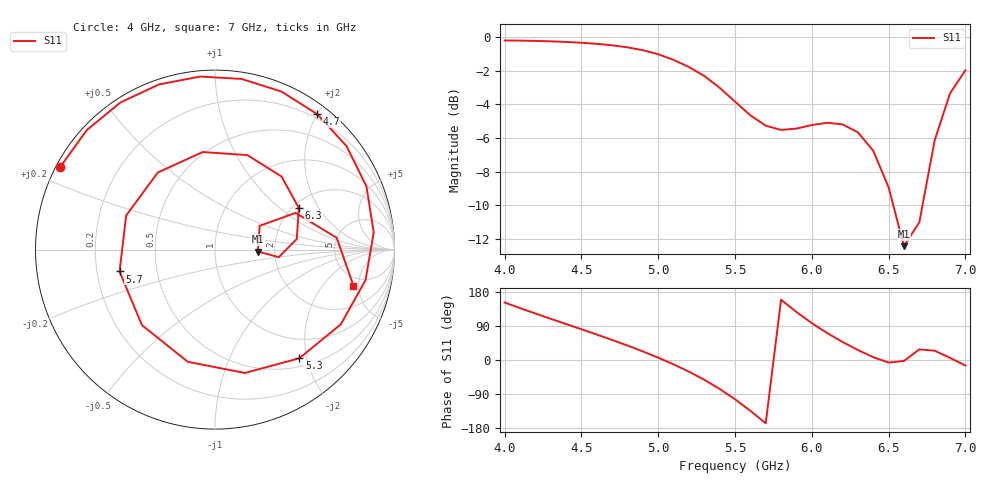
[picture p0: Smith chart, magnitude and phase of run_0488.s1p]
! Touchstone file exported from HFSS 2024.2.0
!  File:  C:/Users/wsak9/Desktop/Sim Fast/Widenad Patch/WP_AI_V1_sweep.aedt
!  Generated:  12:27:09 PM Oct 14, 2026
!  Design:  A1_model
!  Project:  WP_AI_V1_sweep
!  Setup:  Setup1
!  Solution:  Sweep
! Variables:
!  Air_gap = 4.84mm
!  Curve_Amp1 = 2.17
!  Curve_len1 = 1
!  Curve_pos = 9.545mm
!  Extra = 1.82mm
!  H_sub = 0.79mm
!  L_Patch = 15.09mm
!  L_Patch1 = 12.74mm
!  Sx = 1.45mm
!  Sy = 2.04mm
!  WS = 0.85mm
!  W_Patch = 18.43mm
!  W_Patch1 = 10.92mm
!Data is not renormalized
# GHz S MA
! Terminal data exported
! Port[1] = 1
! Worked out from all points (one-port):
!   31 points, 4 GHz to 7 GHz, reference per port
!   lowest |S11| = -12.4 dB at 6.6 GHz (marker M1), VSWR 1.63
!   |S11| at or under -10 dB: 6.531 GHz to 6.721 GHz (190 MHz wide, 2.87 % of centre)
!   S11 on the Smith chart (normalised r, x): 4 GHz: 0.01, +0.25; 4.7 GHz: 0.14, +2.00; 5.3 GHz: 0.64, -1.87; 5.7 GHz: 0.30, -0.10; 6.3 GHz: 2.16, +1.37; 7 GHz: 3.95, -4.33
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4  0.9774 151.8
4.2  0.9745 122.7
4.4  0.9677 94.9
4.5  0.9623 81.1
4.7  0.9456 52.9
4.8  0.9324 38.2
4.9  0.9144 22.6
5  0.8894 6.2
5.1  0.8557 -11.5
5.2  0.8151 -30.7
5.3  0.7664 -52.2
5.4  0.7071 -76.4
5.5  0.6433 -103.6
5.6  0.5856 -134.0
5.7  0.5456 -167.1
5.8  0.53 159.0
5.9  0.5347 126.6
6  0.5479 97.3
6.1  0.5566 71.1
6.2  0.5505 47.6
6.3  0.5213 26.4
6.4  0.4598 7.4
6.5  0.3577 -6.8
6.6  0.2392 -2.6
6.7  0.2817 28.0
6.8  0.4933 24.5
6.9  0.681 5.6
7  0.7966 -14.6
